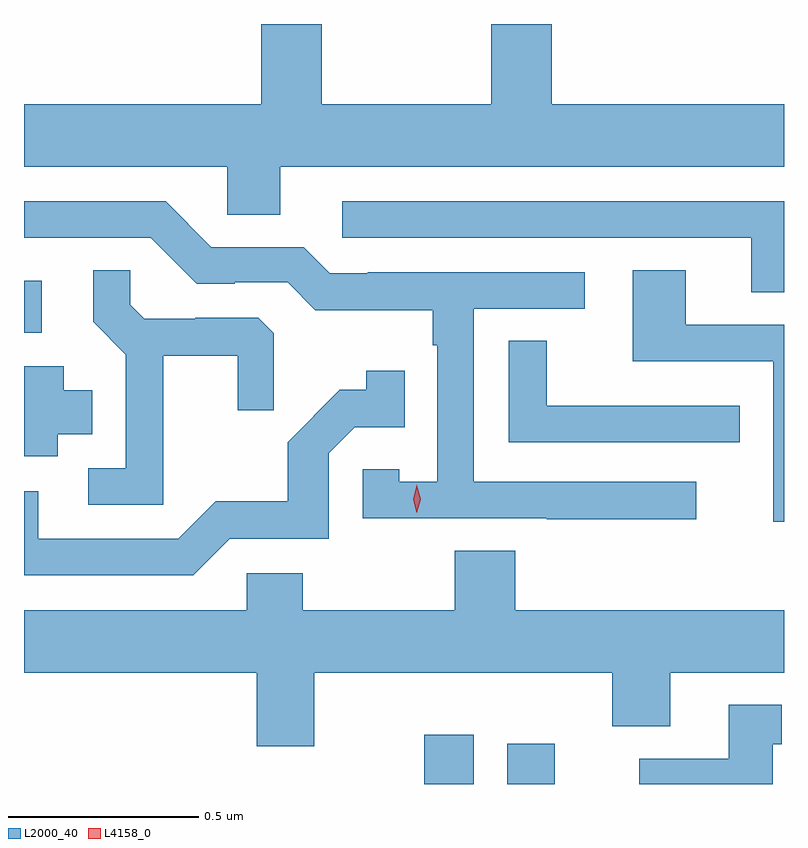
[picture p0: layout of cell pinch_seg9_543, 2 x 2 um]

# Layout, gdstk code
import gdstk
lib = gdstk.Library(unit=1e-6, precision=1e-09)
def R(c, l, rs):  # rectangles x0, y0, x1, y1
    for r in rs: c.add(gdstk.rectangle(r[:2], r[2:], *l))
def P(c, l, *ps):  # polygons
    for p in ps: c.add(gdstk.Polygon(p, *l))
L2000_40 = (2000, 40)
L4158_0 = (4158, 0)

pinch_seg9_543 = lib.new_cell('pinch_seg9_543')
R(pinch_seg9_543, L2000_40, [(382.034,1181.475,382.165,1181.605), (382.253,1181.475,382.378,1181.581), (380.981,1182.663,381.028,1182.799)])
P(pinch_seg9_543, L2000_40, [(381.655,1183.1),(382.981,1183.1),(382.981,1183.264),(382.37,1183.264),(382.37,1183.475),(382.21,1183.475),(382.21,1183.264),(381.765,1183.264),(381.765,1183.475),(381.605,1183.475),(381.605,1183.264),(380.981,1183.264),(380.981,1183.1),(381.516,1183.1),(381.516,1182.973),(381.655,1182.973)],
  [(382.75,1182.27),(382.164,1182.27),(382.164,1182.726),(382.456,1182.726),(382.456,1182.822),(381.886,1182.822),(381.886,1182.819),(381.786,1182.819),(381.717,1182.888),(381.474,1182.888),(381.354,1183.008),(380.981,1183.008),(380.981,1182.912),(381.315,1182.912),(381.435,1182.792),(381.536,1182.792),(381.536,1182.795),(381.675,1182.795),(381.748,1182.722),(382.056,1182.722),(382.056,1182.629),(382.068,1182.629),(382.068,1182.271),(381.969,1182.271),(381.969,1182.303),(381.873,1182.303),(381.873,1182.174),(382.357,1182.174),(382.357,1182.172),(382.75,1182.172)],
  [(382.981,1183.008),(381.819,1183.008),(381.819,1182.912),(382.895,1182.912),(382.895,1182.769),(382.981,1182.769)],
  [(382.981,1182.684),(382.723,1182.684),(382.723,1182.827),(382.583,1182.827),(382.583,1182.588),(382.953,1182.588),(382.953,1182.165),(382.981,1182.165)],
  [(381.347,1182.602),(381.544,1182.602),(381.544,1182.459),(381.638,1182.459),(381.638,1182.661),(381.597,1182.702),(381.432,1182.702),(381.432,1182.699),(381.298,1182.699),(381.261,1182.736),(381.261,1182.827),(381.163,1182.827),(381.163,1182.691),(381.249,1182.605),(381.249,1182.306),(381.15,1182.306),(381.15,1182.21),(381.347,1182.21)],
  [(382.864,1182.47),(382.751,1182.47),(382.751,1182.471),(382.356,1182.471),(382.356,1182.641),(382.257,1182.641),(382.257,1182.375),(382.864,1182.375)],
  [(381.07,1182.395),(381.16,1182.395),(381.16,1182.511),(381.085,1182.511),(381.085,1182.574),(380.981,1182.574),(380.981,1182.338),(381.07,1182.338)],
  [(381.522,1182.12),(381.783,1182.12),(381.783,1182.345),(381.852,1182.414),(381.983,1182.414),(381.983,1182.562),(381.882,1182.562),(381.882,1182.512),(381.812,1182.512),(381.675,1182.374),(381.675,1182.219),(381.486,1182.219),(381.387,1182.12),(381.019,1182.12),(381.019,1182.246),(380.981,1182.246),(380.981,1182.024),(381.426,1182.024)],
  [(381.745,1181.768),(382.529,1181.768),(382.529,1181.627),(382.681,1181.627),(382.681,1181.768),(382.981,1181.768),(382.981,1181.932),(382.274,1181.932),(382.274,1182.089),(382.114,1182.089),(382.114,1181.932),(381.714,1181.932),(381.714,1182.03),(381.567,1182.03),(381.567,1181.932),(380.981,1181.932),(380.981,1181.768),(381.593,1181.768),(381.593,1181.574),(381.745,1181.574)],
  [(382.951,1181.58),(382.975,1181.58),(382.975,1181.683),(382.835,1181.683),(382.835,1181.542),(382.6,1181.542),(382.6,1181.475),(382.951,1181.475)])
P(pinch_seg9_543, L4158_0, [(382.015,1182.189),(382.015,1182.189),(382.005,1182.225),(382.015,1182.261),(382.015,1182.262),(382.015,1182.261),(382.025,1182.225),(382.015,1182.189)])

lib.write_gds('pinch_seg9_543.gds')
